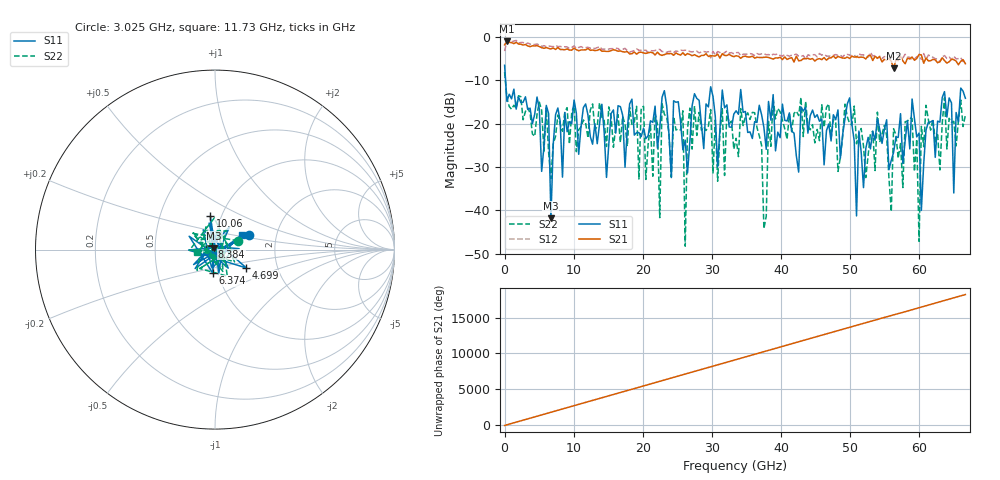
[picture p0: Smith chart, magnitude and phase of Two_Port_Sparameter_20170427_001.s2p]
!My New Comment
# Hz S RI R 50
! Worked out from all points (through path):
!   200 points, 10 MHz to 66.67 GHz, reference 50 ohm
!   highest |S21| = -1.02 dB at 345 MHz (marker M1); lowest = -7.3 dB at 56.28 GHz (marker M2)
!   lowest |S11| = -41.8 dB at 6.709 GHz (marker M3), VSWR 1.02, Z = 49.6 + j0.703 ohm
!   |S11| at or under -10 dB: 148.4 MHz to end of sweep
!   |S22| runs from -48.2 to -8.2 dB; largest |S21 - S12| = 1.7
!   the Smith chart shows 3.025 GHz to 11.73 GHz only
!   S11 on the Smith chart (normalised r, x): 3.025 GHz: 1.43, +0.24; 4.699 GHz: 1.39, -0.30; 6.374 GHz: 0.94, -0.25; 8.384 GHz: 0.97, +0.03; 10.06 GHz: 0.89, +0.34; 11.73 GHz: 1.33, +0.22
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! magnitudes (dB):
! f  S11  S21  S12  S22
! 10 MHz  -6.6  -1.9  -3.3  -8.2
! 345 MHz  -14.9  -1.0  -0.9  -14.1
! 3.025 GHz  -13.8  -1.8  -1.7  -17.2
! 4.699 GHz  -13.9  -2.0  -1.6  -17.8
! 6.374 GHz  -17.7  -2.7  -2.1  -26.6
! 6.709 GHz  -41.8  -2.8  -2.2  -32.6
! 8.384 GHz  -32.3  -2.9  -2.3  -21.8
! 10.06 GHz  -14.6  -2.6  -2.1  -15.7
! 11.4 GHz  -16.3  -3.0  -2.6  -19.1
! 11.73 GHz  -15.5  -3.0  -2.5  -19.9
! 22.45 GHz  -21.2  -4.1  -2.9  -41.7
! 22.79 GHz  -13.9  -4.3  -3.4  -15.4
! 25.8 GHz  -26.0  -3.7  -3.2  -17.0
! 26.14 GHz  -23.8  -4.3  -3.1  -48.2
! 26.81 GHz  -24.2  -4.1  -3.4  -16.4
! 33.5 GHz  -17.0  -4.4  -3.7  -23.4
! 44.56 GHz  -16.9  -5.0  -4.1  -20.2
! 55.61 GHz  -30.6  -4.9  -4.5  -32.5
! 56.28 GHz  -26.7  -7.3  -4.7  -21.2
! 59.97 GHz  -22.2  -4.1  -4.5  -47.1
! 60.97 GHz  -21.5  -4.9  -5.2  -15.8
! 66.67 GHz  -14.2  -6.2  -5.4  -18.1
